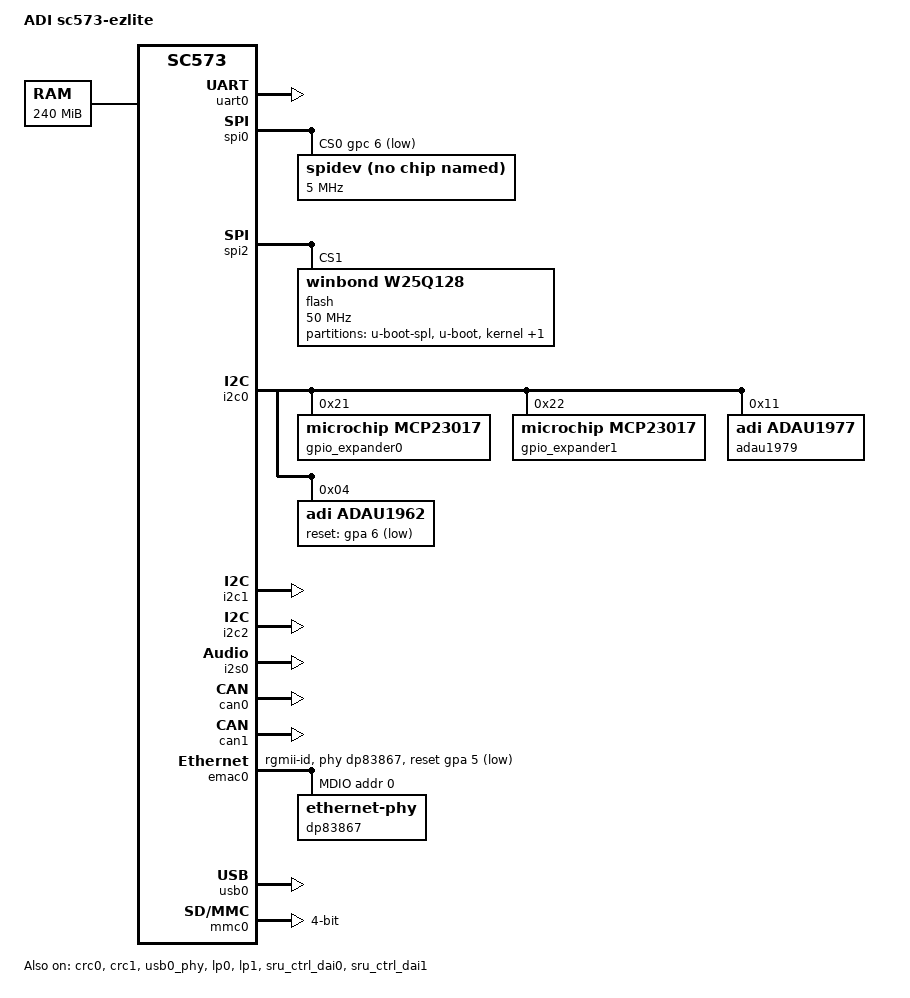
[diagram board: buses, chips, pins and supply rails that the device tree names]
/*
 * Device tree for ADI sc573-ezlite board
 *
 * Copyright 2014 - 2018 Analog Devices Inc.
 *
 * Licensed under the GPL-2 or later.
 */

/dts-v1/;

#include <dt-bindings/input/input.h>
#include <dt-bindings/gpio/gpio.h>
#include <dt-bindings/net/ti-dp83867.h>
#include <dt-bindings/pinctrl/adi,adsp-sc573-pinctrl.h>
#include <dt-bindings/pinctrl/adi-adsp-sru.h>
#include "sc57x.dtsi"

/ {
	model = "ADI sc573-ezlite";
	compatible = "adi,sc573-ezlite", "adi,sc57x";

	aliases {
		/* serial2 = &uart2; */
	};

	memory@80000000 {
		device_type = "memory";
		reg = <0x80000000 0xF000000>;
	};

	reserved-memory {
		vdev0vrings: vdev0vring0@20080000 {
			reg = <0x20080000 0x4000>;
			no-map;
		};

		vdev0buffer: vdev0buffer@20084000 {
			compatible = "shared-dma-pool";
			reg = <0x20084000 0x20000>;
			no-map;
		};

		vdev1vrings: vdev0vring0@200A4000 {
			reg = <0x200A4000 0x4000>;
			no-map;
		};

		vdev1buffer: vdev0buffer@200A8000 {
			compatible = "shared-dma-pool";
			reg = <0x200A8000 0x20000>;
			no-map;
		};
	};

	scb {
		core1-rproc@3108C000 {
			compatible = "adi,remoteproc";
			reg = <0x28240000 0x2000>,
			      <0x20000000 0x200000>;
			core-id = <1>;
			firmware-name = "adi_adsp_core1_fw.ldr";
			interrupts = <GIC_SPI 206 IRQ_TYPE_EDGE_RISING>;
			adi,svect = <&rcu 0x24>;
			resets = <&rcu 1 0>, <&rcu 1 1>;
			reset-names = "crst", "start";
			mboxes = <&tru 71>; /* trigger master SOFT4 */
			mbox-names = "kick";
			adi,l1-da = <0x240000 0x3a0000>;
			adi,l2-da = <0x20080000 0x200C0000>;
			adi,rsc-table = <&rsc_tbl0>;
			status = "okay";
		};

		core2-rproc@3108C000 {
			compatible = "adi,remoteproc";
			reg = <0x28A40000 0x2000>,
			      <0x20000000 0x200000>;
			core-id = <2>;
			firmware-name = "adi_adsp_core2_fw.ldr";
			interrupts = <GIC_SPI 206 IRQ_TYPE_EDGE_RISING>;
			adi,svect = <&rcu 0x28>;
			resets = <&rcu 2 0>, <&rcu 2 1>;
			reset-names = "crst", "start";
			mboxes = <&tru 72>; /* trigger master SOFT5 */
			mbox-names = "kick";
			adi,l1-da = <0x240000 0x3a0000>;
			adi,l2-da = <0x20080000 0x200C0000>;
			adi,rsc-table = <&rsc_tbl1>;
			status = "okay";
		};

		sound {
			compatible = "adi,sc5xx-asoc-card";
			adi,cpu-dai = <&i2s0>;
			adi,codec = <&adau1962>, <&adau1979>;
			status = "okay";
		};
	};
};

&tru {
	mcapi_to_a5: channel@0 {
		adi,tru-master-id = <70>; /* trigger master SOFT3 */
		adi,tru-slave-id = <71>; /* TRU0_IRQ3 */
	};
	mcapi_to_sharc0: channel@1 {
		adi,tru-master-id = <71>; /* trigger master SOFT4 */
		adi,tru-slave-id = <75>; /* TRU0_IRQ7 */
	};
	mcapi_to_sharc1: channel@2 {
		adi,tru-master-id = <72>; /* trigger master SOFT5 */
		adi,tru-slave-id = <79>; /* TRU0_IRQ11 */
	};
};

&uart0 {
	pinctrl-names = "default";
	pinctrl-0 = <&uart0_default>;
	status = "okay";
};

&spi0 {
	pinctrl-names = "default";
	pinctrl-0 = <&spi0_default>;
	status = "okay";
	cs-gpios = <&gpc 6 GPIO_ACTIVE_LOW>;

	spidev@0 {
		#address-cells = <1>;
		size-cells = <1>;
		/* this is actually being used to control a tja1145 can transceiver */
		compatible = "rohm,dh2228fv";
		spi-max-frequency = <5000000>;
		reg = <0>;
	};
};

&spi2 {
	pinctrl-names = "default";
	pinctrl-0 = <&spi2_quad>;

	status = "okay";

	flash@1 {
		#address-cells = <1>;
		#size-cells = <1>;
		compatible = "winbond,w25q128", "jedec,spi-nor";
		spi-max-frequency = <50000000>;
		reg = <1>;
		spi-cpol;
		spi-cpha;
		spi-tx-bus-width = <4>;
		spi-rx-bus-width = <4>;

		partition@0 {
			label = "u-boot-spl";
			reg = <0x0 0x20000>;
		};

		partition@1 {
			label = "u-boot";
			reg = <0x20000 0xb0000>;
		};

		partition@2 {
			label = "kernel";
			reg = <0x00d0000 0x610000>;
		};

		partition@3 {
			label = "rootfs";
			reg = <0x06e0000 0x0920000>;
		};
	};
};

&i2c0 {
	status = "okay";

	gpio_expander0: gpio@21 {
		compatible = "microchip,mcp23017";
		gpio-controller;
		#gpio-cells = <2>;
		reg = <0x21>;

		eeprom-en {
			gpio-hog;
			gpios = <0 GPIO_ACTIVE_LOW>;
			output-low;
			line-name = "eeprom_en";
		};

		uart0-flow-en {
			gpio-hog;
			gpios = <1 GPIO_ACTIVE_LOW>;
			output-low;
			line-name = "uart0-flow-en";
		};

		mlb3-en {
			gpio-hog;
			gpios = <5 GPIO_ACTIVE_LOW>;
			output-low;
			line-name = "mlb3-en";
		};

		can0-en {
			gpio-hog;
			gpios = <6 GPIO_ACTIVE_LOW>;
			output-low;
			line-name = "can0-en";
		};

		can1-en {
			gpio-hog;
			gpios = <7 GPIO_ACTIVE_LOW>;
			output-low;
			line-name = "can1-en";
		};

		adau1962-en {
			gpio-hog;
			gpios = <8 GPIO_ACTIVE_LOW>;
			output-high;
			line-name = "adau1962-en";
		};

		adau1979-en {
			gpio-hog;
			gpios = <9 GPIO_ACTIVE_LOW>;
			output-high;
			line-name = "adau1979-en";
		};

		audio-jack {
			gpio-hog;
			gpios = <10 GPIO_ACTIVE_HIGH>;
			output-high;
			line-name = "audio-jack-sel";
		};

		sd-wp-en {
			gpio-hog;
			gpios = <11 GPIO_ACTIVE_LOW>;
			output-low;
			line-name = "sd-wp-en";
		};

		spi2flash-cs-en {
			gpio-hog;
			gpios = <12 GPIO_ACTIVE_LOW>;
			output-high;
			line-name = "spi2flash-cs-en";
		};

		spi2d2-d3-en {
			gpio-hog;
			gpios = <13 GPIO_ACTIVE_LOW>;
			output-high;
			line-name = "spi2-d2-d3-en";
		};

		spdif-optical-en {
			gpio-hog;
			gpios = <14 GPIO_ACTIVE_LOW>;
			output-low;
			line-name = "spdif-optical-en";
		};

		spdif-digital-en {
			gpio-hog;
			gpios = <15 GPIO_ACTIVE_LOW>;
			output-low;
			line-name = "spdif-digital-en";
		};

	};

	gpio_expander1: gpio@22 {
		compatible = "microchip,mcp23017";
		gpio-controller;
		#gpio-cells = <2>;
		reg = <0x22>;

		pushbutton3-en {
			gpio-hog;
			gpios = <0 GPIO_ACTIVE_LOW>;
			output-high;
			line-name = "pushbutton3-en";
		};

		pushbutton2-en {
			gpio-hog;
			gpios = <1 GPIO_ACTIVE_LOW>;
			output-high;
			line-name = "pushbutton2-en";
		};

		pushbutton1-en {
			gpio-hog;
			gpios = <2 GPIO_ACTIVE_LOW>;
			output-high;
			line-name = "pushbutton1-en";
		};

		leds-en {
			gpio-hog;
			gpios = <3 GPIO_ACTIVE_LOW>;
			output-low;
			line-name = "leds-en";
		};

		flag0-loop {
			gpio-hog;
			gpios = <4 GPIO_ACTIVE_LOW>;
			output-low;
			line-name = "flag0-loop";
		};

		flag1-loop {
			gpio-hog;
			gpios = <5 GPIO_ACTIVE_LOW>;
			output-low;
			line-name = "flag1-loop";
		};

		flag2-loop {
			gpio-hog;
			gpios = <6 GPIO_ACTIVE_LOW>;
			output-low;
			line-name = "flag2-loop";
		};

		flag3-loop {
			gpio-hog;
			gpios = <7 GPIO_ACTIVE_LOW>;
			output-low;
			line-name = "flag3-loop";
		};

		adau1977-en {
			gpio-hog;
			gpios = <8 GPIO_ACTIVE_LOW>;
			output-low;
			line-name = "adau1977-en";
		};

		adau1977-fault-rst-en {
			gpio-hog;
			gpios = <9 GPIO_ACTIVE_LOW>;
			output-low;
			line-name = "adau1977-fault-rst-en";
		};

		thumbwheel-oe {
			gpio-hog;
			gpios = <10 GPIO_ACTIVE_LOW>;
			output-low;
			line-name = "thumbwheel-oe";
		};

		engine-rpm-oe {
			gpio-hog;
			gpios = <11 GPIO_ACTIVE_LOW>;
			output-low;
			line-name = "engine-rpm-oe";
		};

	};

	adau1979: adau1979@11 {
		compatible = "adi,adau1977";
		reg = <0x11>;
	};

	adau1962: adau1962@4 {
		compatible = "adi,adau1962";
		reg = <0x4>;
		reset-gpios = <&gpa 6 GPIO_ACTIVE_LOW>;
	};
};

&i2c1 {
	status = "okay";
};

&i2c2 {
	status = "okay";
};

&i2s0 {
	pinctrl-names = "default";
	pinctrl-0 = <&sru_dai0>;
	status = "okay";
};

&crc0 {
	status = "okay";
};

&crc1 {
	status = "okay";
};

&can0 {
	pinctrl-names = "default";
	pinctrl-0 = <&can0_default>;
	phy-name = "tja1055";
	phy-gpios = <&gpa 1 0>,		/* en PA1 */
		    <&gpa 2 0x1>;	/* stb PA2, GPIO_ACTIVE_LOW */
	status = "okay";
};

&can1 {
	pinctrl-names = "default";
	pinctrl-0 = <&can1_default>;
	phy-name = "tja1145";
	phy-spibus = /bits/ 16 <0>;
	phy-spiclk = <1000000>;
	phy-spics = /bits/ 16 <38>;	/* GPIO_PC6 */
	status = "okay";
};

&emac0 {
	snps,reset-gpio = <&gpa 5 0>;
	snps,reset-active-low;
	snps,reset-delays-us = <0 10000 10000>;
	phy-handle = <&dp83867>;
	phy-mode = "rgmii-id";
	pinctrl-names = "default";
	pinctrl-0 = <&eth0_default>;
	status = "okay";
	mdio0 {
		compatible = "snps,dwmac-mdio";
		#address-cells = <1>;
		#size-cells = <0>;
		dp83867: ethernet-phy@0 {
			reg = <0>;
			ti,rx-internal-delay = <DP83867_RGMIIDCTL_2_00_NS>;
			ti,tx-internal-delay = <DP83867_RGMIIDCTL_2_00_NS>;
			ti,fifo-depth = <DP83867_PHYCR_FIFO_DEPTH_8_B_NIB>;
			ti,dp83867-rxctrl-strap-quirk;
		};
	};
};

&usb0_phy {
	status = "okay";
};

&usb0 {
	/* mode = <2>; Place OTG port into Device Mode */
	/* mode = <1>; Place OTG port into Host Mode */
	mode = <1>;
	status = "okay";
};

&mmc0 {
	wp-en-pin = <&gpio_expander0 11 GPIO_ACTIVE_LOW>;	/* SD_WP_EN */
	bus-width = <4>;
	pinctrl-names = "default";
	pinctrl-0 = <&mmc0_default>;
	max-frequency = <18750000>;
	status = "okay";
};

&lp0 {
	pinctrl-names = "default";
	pinctrl-0 = <&lp0_default>;
	status = "okay";
};

&lp1 {
	pinctrl-names = "default";
	pinctrl-0 = <&lp1_default>;
	status = "okay";
};

&sram_mmap {
	status = "okay";
};

&pinctrl {
	uart0_default: uart0-default-pins {
		pinmux = <SC573_PF08__UART0_TX
			  SC573_PF09__UART0_RX>;
	};

	uart0_hwflow: uart0-hwflow-pins {
		pinmux = <SC573_PF08__UART0_TX
			  SC573_PF09__UART0_RX
			  SC573_PD05__UART0_RTS
			  SC573_PD06__UART0_CTS>;
	};

	eth0_default: eth0-default-pins {
		pinmux = <SC573_PB07__ETH0_TXD0
			  SC573_PB08__ETH0_TXD1
			  SC573_PB06__ETH0_TXD2
			  SC573_PB05__ETH0_TXD3
			  SC573_PA13__ETH0_RXD0
			  SC573_PA12__ETH0_RXD1
			  SC573_PA14__ETH0_RXD2
			  SC573_PA15__ETH0_RXD3
			  SC573_PB09__ETH0_TXCTL_TXEN
			  SC573_PB04__ETH0_TXCLK
			  SC573_PB00__ETH0_RXCLK_REFCLK
			  SC573_PB02__ETH0_RXCTL_RXDV
			  SC573_PA10__ETH0_MDIO
			  SC573_PA11__ETH0_MDC>;
	};

	spi0_default: spi0-default-pins {
		pinmux = <SC573_PC01__SPI0_CLK
			  SC573_PC02__SPI0_MISO
			  SC573_PC03__SPI0_MOSI>;
	};

	spi2_quad: spi2-quad-pins {
		pinmux = <SC573_PB14__SPI2_CLK
			  SC573_PB10__SPI2_MISO
			  SC573_PB11__SPI2_MOSI
			  SC573_PB12__SPI2_D2
			  SC573_PB13__SPI2_D3
			  SC573_PB15__SPI2_SEL1>;
	};

	can0_default: can0-default-pins {
		pinmux = <SC573_PC12__CAN0_RX
			  SC573_PC13__CAN0_TX>;
	};

	can1_default: can1-default-pins {
		pinmux = <SC573_PC14__CAN1_RX
			  SC573_PC15__CAN1_TX>;
	};

	mmc0_default: mmc0-default-pins {
		pinmux = <SC573_PE12__MSI0_D0
			  SC573_PE13__MSI0_D1
			  SC573_PE14__MSI0_D2
			  SC573_PE15__MSI0_D3
			  SC573_PF00__MSI0_D4
			  SC573_PF01__MSI0_D5
			  SC573_PF02__MSI0_D6
			  SC573_PF03__MSI0_D7
			  SC573_PF04__MSI0_CLK
			  SC573_PF07__MSI0_CMD
			  SC573_PC12__MSI0_CD>;
	};

	ppi0_8b: ppi0-8b-pins {
		pinmux = <SC573_PD10__PPI0_D00
			  SC573_PD11__PPI0_D01
			  SC573_PD12__PPI0_D02
			  SC573_PD13__PPI0_D03
			  SC573_PD14__PPI0_D04
			  SC573_PD15__PPI0_D05
			  SC573_PC05__PPI0_D06
			  SC573_PD09__PPI0_D07
			  SC573_PC11__PPI0_CLK
			  SC573_PC14__PPI0_FS1
			  SC573_PC15__PPI0_FS2
			  SC573_PC06__PPI0_FS3>;
	};

	ppi0_16b: ppi0-16b-pins {
		pinmux = <SC573_PD10__PPI0_D00
			  SC573_PD11__PPI0_D01
			  SC573_PD12__PPI0_D02
			  SC573_PD13__PPI0_D03
			  SC573_PD14__PPI0_D04
			  SC573_PD15__PPI0_D05
			  SC573_PC05__PPI0_D06
			  SC573_PD09__PPI0_D07
			  SC573_PC01__PPI0_D08
			  SC573_PC02__PPI0_D09
			  SC573_PC03__PPI0_D10
			  SC573_PC04__PPI0_D11
			  SC573_PE00__PPI0_D12
			  SC573_PC07__PPI0_D13
			  SC573_PC08__PPI0_D14
			  SC573_PE01__PPI0_D15
			  SC573_PC11__PPI0_CLK
			  SC573_PC14__PPI0_FS1
			  SC573_PC15__PPI0_FS2
			  SC573_PC06__PPI0_FS3>;
	};

	cnt0_default: cnt0-default-pins {
		pinmux = <SC573_PD07__CNT0_ZM
			  SC573_PE13__CNT0_UD
			  SC573_PD08__CNT0_DG>;
	};

	lp0_default: lp0-default-pins {
		pinmux = <SC573_PE04__LP0_D0
			  SC573_PE05__LP0_D1
			  SC573_PE06__LP0_D2
			  SC573_PE07__LP0_D3
			  SC573_PE08__LP0_D4
			  SC573_PE09__LP0_D5
			  SC573_PE10__LP0_D6
			  SC573_PE11__LP0_D7
			  SC573_PE02__LP0_CLK
			  SC573_PE03__LP0_ACK>;
	};

	lp1_default: lp1-default-pins {
		pinmux = <SC573_PD10__LP1_D0
			  SC573_PD11__LP1_D1
			  SC573_PD12__LP1_D2
			  SC573_PD13__LP1_D3
			  SC573_PD14__LP1_D4
			  SC573_PD15__LP1_D5
			  SC573_PA09__LP1_D6
			  SC573_PD09__LP1_D7
			  SC573_PB03__LP1_CLK
			  SC573_PB01__LP1_ACK>;
	};
};

&sru_ctrl_dai0 {
	status = "okay";

	sru_dai0: sru_dai0_mux {
		route {
			sru-routing =
				<DAI0_LOW_F          DAI0_PBEN02_I>,  /* set DAI0_PIN02 to input */
				<DAI0_PB02_O_ABCDE   SPT0_ACLK_I>,    /* route DAI0_PIN02 to SPT0_ACLK */
				<DAI0_LOW_F          DAI0_PBEN04_I>,  /* set DAI0_PIN04 to input */
				<DAI0_PB04_O_ABCDE   SPT0_AFS_I>,     /* route DAI0_PIN04 to SPT0_AFS */
				<DAI0_HIGH_F         DAI0_PBEN01_I>,  /* set DAI0_PIN01 to output */
				<SPT0_AD0_O_BD       DAI0_PB01_I>,    /* route SPT4_AD0 to DAI0_PIN01 */
				<DAI0_LOW_F          DAI0_PBEN12_I>,  /* set DAI0_PIN12 to input */
				<DAI0_PB12_O_ABCDE   SPT0_BCLK_I>,    /* route DAI0_PIN12 to SPT0_BCLK */
				<DAI0_LOW_F          DAI0_PBEN20_I>,  /* set DAI0_PIN20 to input */
				<DAI0_PB20_O_ABCDE   SPT0_BFS_I>,     /* route DAI0_PIN20 to SPT0_BFS */
				<DAI0_LOW_F          DAI0_PBEN06_I>,  /* set DAI0_PIN06 to input */
				<DAI0_PB06_O_ABCDE   SPT0_BD0_I>;     /* route DAI0_PIN06 to SPT0_BD0 */
		};
	};
};

&sru_ctrl_dai1 {
	status = "okay";
};

